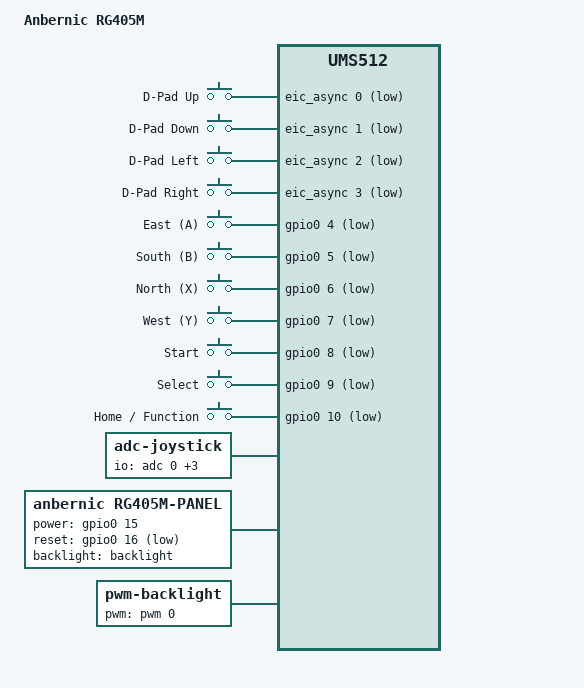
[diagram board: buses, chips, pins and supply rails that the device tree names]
/dts-v1/;

#include <dt-bindings/input/input.h>
#include <dt-bindings/gpio/gpio.h>
#include <dt-bindings/interrupt-controller/irq.h>
#include "ums512.dtsi"

/ {
    model = "Anbernic RG405M";
    compatible = "anbernic,rg405m", "unisoc,ums512";

    aliases {
        serial0 = &uart0;
        mmc0 = &sdio0;  /* eMMC */
        mmc1 = &sdio1;  /* MicroSD Card */
    };

    chosen {
        bootargs = "console=ttyS0,115200n8 root=/dev/mmcblk1p2 rootwait rw quiet loglevel=4";
    };

    /* GPIO Digital Controls (D-Pad, Action Buttons, Triggers) */
    gpio-keys {
        compatible = "gpio-keys";
        pinctrl-names = "default";
        pinctrl-0 = <&gpio_keys_pins>;

        button-up {
            label = "D-Pad Up";
            gpios = <&eic_async 0 GPIO_ACTIVE_LOW>;
            linux,code = <KEY_UP>;
        };

        button-down {
            label = "D-Pad Down";
            gpios = <&eic_async 1 GPIO_ACTIVE_LOW>;
            linux,code = <KEY_DOWN>;
        };

        button-left {
            label = "D-Pad Left";
            gpios = <&eic_async 2 GPIO_ACTIVE_LOW>;
            linux,code = <KEY_LEFT>;
        };

        button-right {
            label = "D-Pad Right";
            gpios = <&eic_async 3 GPIO_ACTIVE_LOW>;
            linux,code = <KEY_RIGHT>;
        };

        button-a {
            label = "East (A)";
            gpios = <&gpio0 4 GPIO_ACTIVE_LOW>;
            linux,code = <BTN_EAST>;
        };

        button-b {
            label = "South (B)";
            gpios = <&gpio0 5 GPIO_ACTIVE_LOW>;
            linux,code = <BTN_SOUTH>;
        };

        button-x {
            label = "North (X)";
            gpios = <&gpio0 6 GPIO_ACTIVE_LOW>;
            linux,code = <BTN_NORTH>;
        };

        button-y {
            label = "West (Y)";
            gpios = <&gpio0 7 GPIO_ACTIVE_LOW>;
            linux,code = <BTN_WEST>;
        };

        button-start {
            label = "Start";
            gpios = <&gpio0 8 GPIO_ACTIVE_LOW>;
            linux,code = <BTN_START>;
        };

        button-select {
            label = "Select";
            gpios = <&gpio0 9 GPIO_ACTIVE_LOW>;
            linux,code = <BTN_SELECT>;
        };

        button-home {
            label = "Home / Function";
            gpios = <&gpio0 10 GPIO_ACTIVE_LOW>;
            linux,code = <BTN_MODE>;
        };
    };

    /* Analog Hall-Sensor Joysticks via SARADC */
    adc-joystick {
        compatible = "adc-joystick";
        io-channels = <&adc 0>, <&adc 1>, <&adc 2>, <&adc 3>;
        poll-interval = <10>;

        axis-left-x {
            linux,code = <ABS_X>;
            abs-range = <0 4095>;
            abs-fuzz = <16>;
            abs-flat = <32>;
        };

        axis-left-y {
            linux,code = <ABS_Y>;
            abs-range = <0 4095>;
            abs-fuzz = <16>;
            abs-flat = <32>;
        };

        axis-right-x {
            linux,code = <ABS_RX>;
            abs-range = <0 4095>;
            abs-fuzz = <16>;
            abs-flat = <32>;
        };

        axis-right-y {
            linux,code = <ABS_RY>;
            abs-range = <0 4095>;
            abs-fuzz = <16>;
            abs-flat = <32>;
        };
    };

    /* 4.0" 640x480 IPS Panel via MIPI-DSI */
    panel {
        compatible = "anbernic,rg405m-panel", "panel-mipi-dsi";
        power-gpios = <&gpio0 15 GPIO_ACTIVE_HIGH>;
        reset-gpios = <&gpio0 16 GPIO_ACTIVE_LOW>;
        backlight = <&backlight>;

        width-mm = <81>;
        height-mm = <61>;

        display-timings {
            native-mode = <&timing0>;
            timing0: timing0 {
                clock-frequency = <25000000>;
                hactive = <640>;
                vactive = <480>;
                hfront-porch = <30>;
                hback-porch = <30>;
                hsync-len = <10>;
                vfront-porch = <10>;
                vback-porch = <10>;
                vsync-len = <4>;
            };
        };
    };

    backlight: backlight {
        compatible = "pwm-backlight";
        pwms = <&pwm 0 5000000>;
        brightness-levels = <0 16 32 64 128 255>;
        default-brightness-level = <4>;
    };

    /* Audio Routing (Headphone Jack & Internal Speakers) */
    sound {
        compatible = "simple-audio-card";
        simple-audio-card,name = "RG405M-Audio";
        simple-audio-card,format = "i2s";
        simple-audio-card,mclk-fs = <256>;

        simple-audio-card,cpu {
            sound-dai = <&i2s0>;
        };

        simple-audio-card,codec {
            sound-dai = <&es8316>;
        };
    };
};
